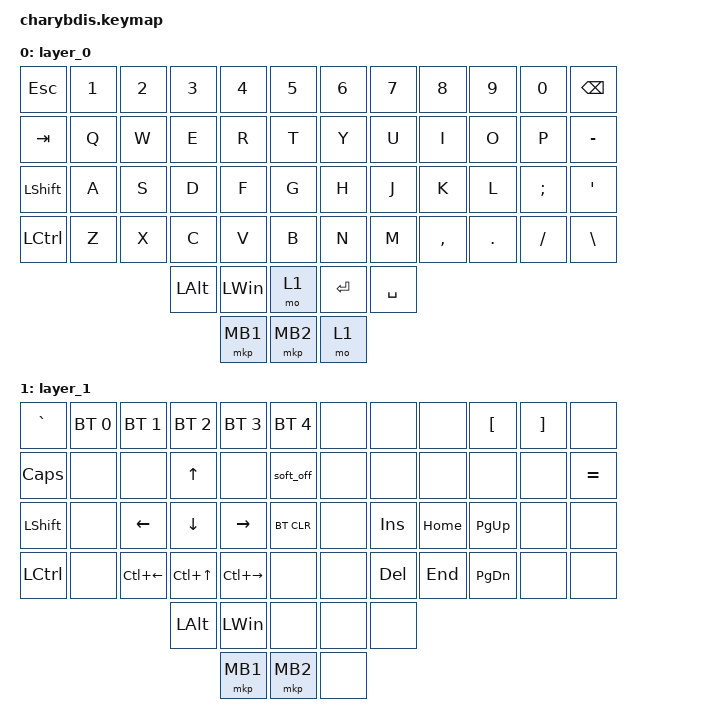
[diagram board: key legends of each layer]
#include <dt-bindings/zmk/mouse.h>
#include <behaviors.dtsi>
#include <dt-bindings/zmk/bt.h>
#include <dt-bindings/zmk/keys.h>
#include <dt-bindings/zmk/pointing.h>

&lt {
    tapping-term-ms = <200>;
    flavor = "balanced";
    quick-tap-ms = <150>;
};

/ {
    keymap {
        compatible = "zmk,keymap";

        layer_0 {
            bindings = <
&kp ESC         &kp N1  &kp N2  &kp N3        &kp N4        &kp N5      &kp N6     &kp N7     &kp N8     &kp N9      &kp N0    &kp BACKSPACE
&kp TAB         &kp Q   &kp W   &kp E         &kp R         &kp T       &kp Y      &kp U      &kp I      &kp O       &kp P     &kp MINUS
&kp LEFT_SHIFT  &kp A   &kp S   &kp D         &kp F         &kp G       &kp H      &kp J      &kp K      &kp L       &kp SEMI  &kp SQT
&kp LCTRL       &kp Z   &kp X   &kp C         &kp V         &kp B       &kp N      &kp M      &kp COMMA  &kp PERIOD  &kp FSLH  &kp BACKSLASH
                                &kp LEFT_ALT  &kp LEFT_WIN  &mo 1       &kp ENTER  &kp SPACE
                                              &mkp MB1      &mkp MB2    &mo 1
            >;

            trackball-bindings = <&tmv_coarse>;
        };

        layer_1 {
            bindings = <
&kp GRAVE       &bt BT_SEL 0  &bt BT_SEL 1  &bt BT_SEL 2      &bt BT_SEL 3   &bt BT_SEL 4    &none  &none       &none     &kp LEFT_BRACKET  &kp RIGHT_BRACKET  &none
&kp CAPS        &none         &none         &kp UP_ARROW      &none          &soft_off       &none  &none       &none     &none             &none              &kp EQUAL
&kp LEFT_SHIFT  &none         &kp LEFT      &kp DOWN          &kp RIGHT      &bt BT_CLR      &none  &kp INSERT  &kp HOME  &kp PG_UP         &none              &none
&kp LCTRL       &none         &kp LC(LEFT)  &kp LC(UP_ARROW)  &kp LC(RIGHT)  &none           &none  &kp DELETE  &kp END   &kp PAGE_DOWN     &none              &none
                                            &kp LEFT_ALT      &kp LEFT_WIN   &none           &none  &none
                                                              &mkp MB1       &mkp MB2        &none
            >;

            trackball-bindings = <&tsl>;
        };

        /* layer_2 {
            bindings = <
&none  &none   &none    &none   &none         &none         &kp N1         &none         &none     &none  &none   &to 0
&none  &none   &none    &none   &none         &none         &none         &none          &rgb_ug RGB_BRD &rgb_ug RGB_BRI  &rgb_ug RGB_EFF   &rgb_ug RGB_TOG
&none  &none   &none    &none   &none         &none         &none         &mkp LCLK     &mkp RCLK  &none  &none   &none
&none  &none   &none    &none   &bt BT_NXT  &bt BT_CLR    &none         &none         &none     &none  &none   &none
                                   &none         &none         &none         &none         &none
                                                 &none         &none         &none
            >;
          trackball-bindings = <&tsl>;
            
        };

       Mouse {
            bindings = <
&none        &none         &none         &none         &none      &none         &none       &none      &none         &none         &none         &none
&none        &bt BT_SEL 0  &bt BT_SEL 1  &bt BT_SEL 3  &none      &bt BT_CLR    &bt BT_CLR  &none      &bt BT_SEL 2  &bt BT_SEL 1  &bt BT_SEL 0  &none
&none        &trans        &trans        &mkp MCLK     &trans     &none         &none       &trans     &mkp MCLK     &trans        &trans        &none
&bootloader  &trans        &mkp RCLK     &mo 4         &mkp LCLK  &mo 5         &mo 5       &mkp LCLK  &mo 4         &mkp RCLK     &trans        &bootloader
                                         &mo 5         &mkp LCLK  &mkp RCLK     &mkp RCLK   &mkp LCLK
                                                       &none      &trans        &trans
            >;

            
        };

        layer_4 {
            bindings = <
&trans  &trans  &trans     &trans     &trans     &trans       &trans     &trans     &trans     &trans     &trans  &trans
&trans  &trans  &trans     &trans     &trans     &trans       &trans     &trans     &trans     &trans     &trans  &trans
&trans  &trans  &trans     &mkp MCLK  &trans     &trans       &trans     &trans     &mkp MCLK  &trans     &trans  &trans
&trans  &trans  &mkp RCLK  &trans     &mkp LCLK  &trans       &trans     &mkp LCLK  &trans     &mkp RCLK  &trans  &trans
                           &trans     &mkp LCLK  &mkp RCLK    &mkp RCLK  &mkp LCLK
                                      &trans     &trans       &trans
            >;
                
                
                trackball-bindings = <&tsl>;
        };

        layer_5 {
            bindings = <
&trans  &trans  &trans     &trans     &trans     &trans       &trans     &trans     &trans     &trans     &trans  &trans
&trans  &trans  &trans     &trans     &trans     &trans       &trans     &trans     &trans     &trans     &trans  &trans
&trans  &trans  &trans     &mkp MCLK  &trans     &trans       &trans     &trans     &mkp MCLK  &trans     &trans  &trans
&trans  &trans  &mkp RCLK  &trans     &mkp LCLK  &trans       &trans     &mkp LCLK  &trans     &mkp RCLK  &trans  &trans
                           &trans     &mkp LCLK  &mkp RCLK    &mkp RCLK  &mkp LCLK
                                      &trans     &trans       &trans
            >;
                trackball-bindings = <&tmv_fine>;
                
        };*/
    };
};
